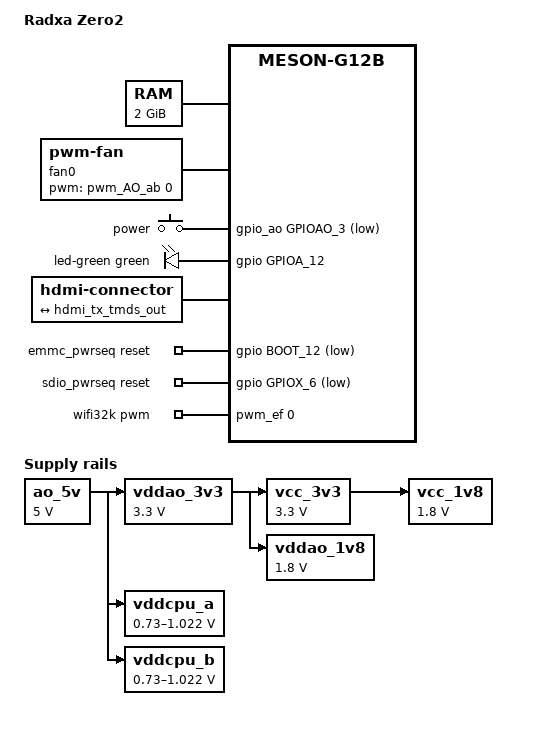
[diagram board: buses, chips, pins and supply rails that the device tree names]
// SPDX-License-Identifier: (GPL-2.0+ OR MIT)

/dts-v1/;

#include "meson-g12b-radxa-zero2.dtsi"

/ {
	compatible = "radxa,zero2", "amlogic,a311d", "amlogic,g12b";
	model = "Radxa Zero2";

	aliases {
		serial0 = &uart_AO;
		serial2 = &uart_A;
	};

	chosen {
		stdout-path = "serial0:115200n8";
	};

	memory@0 {
		device_type = "memory";
		reg = <0x0 0x0 0x0 0x80000000>;
	};

	fan0: pwm-fan {
		compatible = "pwm-fan";
		#cooling-cells = <2>;
		cooling-levels = <0 64 128 192 255>;
		pwms = <&pwm_AO_ab 0 40000 0>;
	};

	gpio-keys-polled {
		compatible = "gpio-keys-polled";
		poll-interval = <100>;
		power-button {
			label = "power";
			linux,code = <KEY_POWER>;
			gpios = <&gpio_ao GPIOAO_3 (GPIO_ACTIVE_LOW | GPIO_PULL_UP)>;
		};
	};

	leds {
		compatible = "gpio-leds";

		led-green {
			color = <LED_COLOR_ID_GREEN>;
			function = LED_FUNCTION_STATUS;
			gpios = <&gpio GPIOA_12 GPIO_ACTIVE_HIGH>;
			linux,default-trigger = "heartbeat";
		};
	};

	hdmi-connector {
		compatible = "hdmi-connector";
		type = "a";

		port {
			hdmi_connector_in: endpoint {
				remote-endpoint = <&hdmi_tx_tmds_out>;
			};
		};
	};

	emmc_pwrseq: emmc-pwrseq {
		compatible = "mmc-pwrseq-emmc";
		reset-gpios = <&gpio BOOT_12 GPIO_ACTIVE_LOW>;
	};

	sdio_pwrseq: sdio-pwrseq {
		compatible = "mmc-pwrseq-simple";
		reset-gpios = <&gpio GPIOX_6 GPIO_ACTIVE_LOW>;
		clocks = <&wifi32k>;
		clock-names = "ext_clock";
	};

	ao_5v: regulator-ao-5v {
		compatible = "regulator-fixed";
		regulator-name = "AO_5V";
		regulator-min-microvolt = <5000000>;
		regulator-max-microvolt = <5000000>;
		regulator-always-on;
	};

	vcc_1v8: regulator-vcc-1v8 {
		compatible = "regulator-fixed";
		regulator-name = "VCC_1V8";
		regulator-min-microvolt = <1800000>;
		regulator-max-microvolt = <1800000>;
		vin-supply = <&vcc_3v3>;
		regulator-always-on;
	};

	vcc_3v3: regulator-vcc-3v3 {
		compatible = "regulator-fixed";
		regulator-name = "VCC_3V3";
		regulator-min-microvolt = <3300000>;
		regulator-max-microvolt = <3300000>;
		vin-supply = <&vddao_3v3>;
		regulator-always-on;
		/* FIXME: actually controlled by VDDCPU_B_EN */
	};

	vddao_1v8: regulator-vddao-1v8 {
		compatible = "regulator-fixed";
		regulator-name = "VDDIO_AO1V8";
		regulator-min-microvolt = <1800000>;
		regulator-max-microvolt = <1800000>;
		vin-supply = <&vddao_3v3>;
		regulator-always-on;
	};

	vddao_3v3: regulator-vddao-3v3 {
		compatible = "regulator-fixed";
		regulator-name = "VDDAO_3V3";
		regulator-min-microvolt = <3300000>;
		regulator-max-microvolt = <3300000>;
		vin-supply = <&ao_5v>;
		regulator-always-on;
	};

	vddcpu_a: regulator-vddcpu-a {
		/*
		 * MP8756GD Regulator.
		 */
		compatible = "pwm-regulator";

		regulator-name = "VDDCPU_A";
		regulator-min-microvolt = <730000>;
		regulator-max-microvolt = <1022000>;

		pwm-supply = <&ao_5v>;

		pwms = <&pwm_ab 0 1250 0>;
		pwm-dutycycle-range = <100 0>;

		regulator-boot-on;
		regulator-always-on;
	};

	vddcpu_b: regulator-vddcpu-b {
		/*
		 * Silergy SY8120B1ABC Regulator.
		 */
		compatible = "pwm-regulator";

		regulator-name = "VDDCPU_B";
		regulator-min-microvolt = <730000>;
		regulator-max-microvolt = <1022000>;

		pwm-supply = <&ao_5v>;

		pwms = <&pwm_AO_cd 1 1250 0>;
		pwm-dutycycle-range = <100 0>;

		regulator-boot-on;
		regulator-always-on;
	};

	sound {
		compatible = "amlogic,axg-sound-card";
		model = "RADXA-ZERO2";
		audio-aux-devs = <&tdmout_b>;
		audio-routing = "TDMOUT_B IN 0", "FRDDR_A OUT 1",
				"TDMOUT_B IN 1", "FRDDR_B OUT 1",
				"TDMOUT_B IN 2", "FRDDR_C OUT 1",
				"TDM_B Playback", "TDMOUT_B OUT";

		clocks = <&clkc CLKID_MPLL2>,
			 <&clkc CLKID_MPLL0>,
			 <&clkc CLKID_MPLL1>;

		assigned-clocks = <&clkc CLKID_MPLL2>,
				  <&clkc CLKID_MPLL0>,
				  <&clkc CLKID_MPLL1>;
		assigned-clock-parents = <0>, <0>, <0>;
		assigned-clock-rates = <294912000>,
				       <270950400>,
				       <393216000>;

		dai-link-0 {
			sound-dai = <&frddr_a>;
		};

		dai-link-1 {
			sound-dai = <&frddr_b>;
		};

		dai-link-2 {
			sound-dai = <&frddr_c>;
		};

		/* 8ch hdmi interface */
		dai-link-3 {
			sound-dai = <&tdmif_b>;
			dai-format = "i2s";
			dai-tdm-slot-tx-mask-0 = <1 1>;
			dai-tdm-slot-tx-mask-1 = <1 1>;
			dai-tdm-slot-tx-mask-2 = <1 1>;
			dai-tdm-slot-tx-mask-3 = <1 1>;
			mclk-fs = <256>;

			codec {
				sound-dai = <&tohdmitx TOHDMITX_I2S_IN_B>;
			};
		};

		/* hdmi glue */
		dai-link-4 {
			sound-dai = <&tohdmitx TOHDMITX_I2S_OUT>;

			codec {
				sound-dai = <&hdmi_tx>;
			};
		};
	};

	wifi32k: clock-0 {
		compatible = "pwm-clock";
		#clock-cells = <0>;
		clock-frequency = <32768>;
		pwms = <&pwm_ef 0 30518 0>; /* PWM_E at 32.768KHz */
	};
};

&sound {
	model = "RADXA-ZERO2";
};
